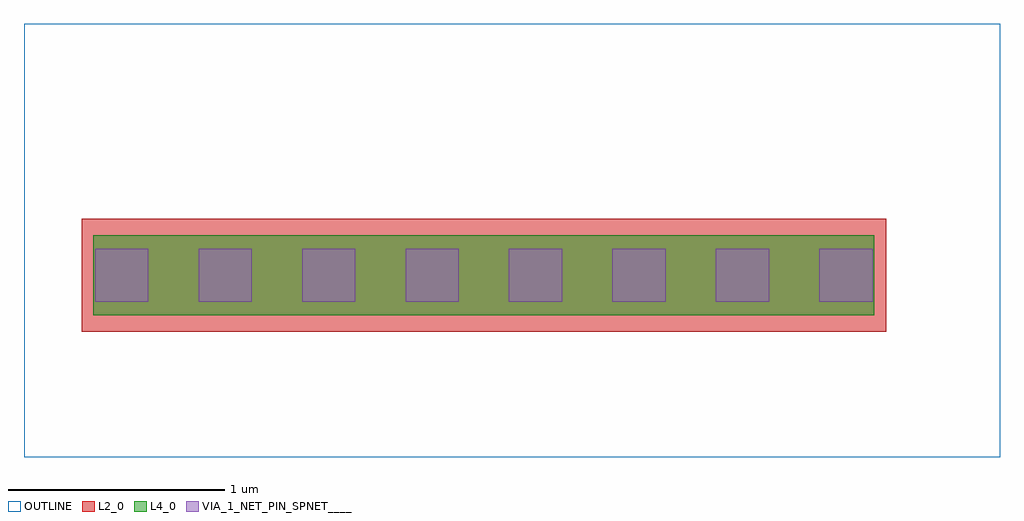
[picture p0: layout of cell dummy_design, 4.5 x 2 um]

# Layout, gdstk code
import gdstk
lib = gdstk.Library(unit=1e-6, precision=1e-09)
def R(c, l, rs):  # rectangles x0, y0, x1, y1
    for r in rs: c.add(gdstk.rectangle(r[:2], r[2:], *l))
def A(c, l, x, y, w, h, nx, ny, dx, dy):  # array of equal rectangles
    R(c, l, [(x+i*dx, y+j*dy, x+i*dx+w, y+j*dy+h) for i in range(nx) for j in range(ny)])
OUTLINE = (1, 0)
L2_0 = (2, 0)
VIA_1_NET_PIN_SPNET____ = (3, 0)
L4_0 = (4, 0)

via_via1_2_xxxx_xxx_x_x_ = lib.new_cell('VIA_via1_2_XXXX_XXX_X_X_XXX_XXX')
R(via_via1_2_xxxx_xxx_x_x_, L2_0, [(-1.854,-0.26,1.855,0.26)])
A(via_via1_2_xxxx_xxx_x_x_, VIA_1_NET_PIN_SPNET____, -1.792, -0.123, 0.246, 0.246, 8, 1, 0.477, 0)
R(via_via1_2_xxxx_xxx_x_x_, L4_0, [(-1.8,-0.184,1.801,0.184)])

dummy_design = lib.new_cell('dummy_design')
R(dummy_design, OUTLINE, [(21.5,7,26,9)])
dummy_design.add(gdstk.Reference(via_via1_2_xxxx_xxx_x_x_, (23.62,7.84)))

lib.write_gds('dummy_design.gds')
